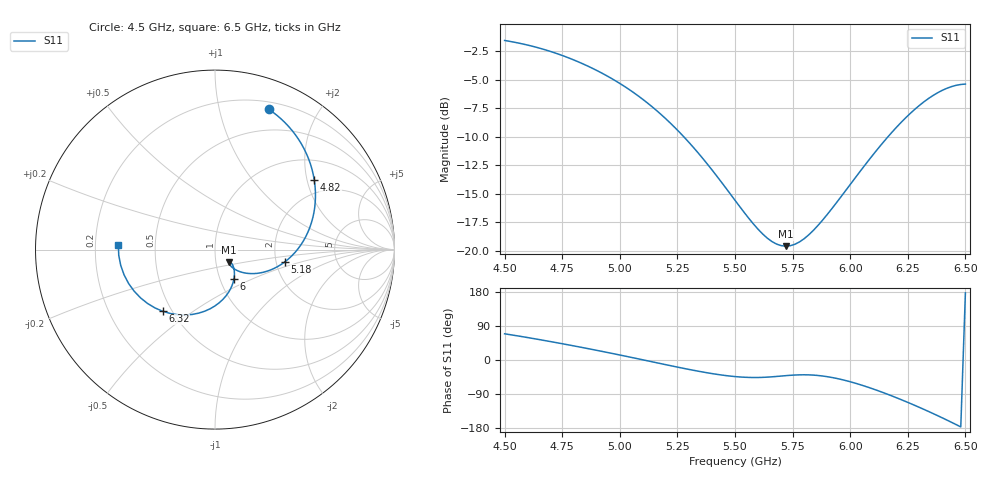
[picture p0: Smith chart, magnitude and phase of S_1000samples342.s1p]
! TOUCHSTONE file generated by CST MICROWAVE STUDIO
! Date and time: Thu Oct 27 20:23:28 2022
! Project name: L.cst
! Parameters = {Di=1.27; Epsilon_r=1.56; InnerDiameter=1.27; Length=2; Lf=10; Lg=60; OuterConductorThickness=0.2921; OuterDiameter=3.6; Wf=3; Wp=41.2; de=1.5; df=6.8; g=0.8; gx=0.755247; gy=1.97883; h=2.34; hf=1.524; px=9.91205; py=9.82056; w=9.7; wx=9.1568; wy=7.84174}
! Header version: 2018
! Port assignment regex: !\s*Touchstone port\s*([0-9]+)\s*=\s*(CST MWS port|CST DS port)\s*([0-9]+|Zmin|Zmax)\s*\(\"(.*)\"\)(\s*mode\s*([0-9]+))?.*
! Touchstone port assignment:
! Touchstone port 1 = CST MWS port 1 ("")
# GHz S DB R 50
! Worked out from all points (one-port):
!   101 points, 4.5 GHz to 6.5 GHz, reference 50 ohm
!   lowest |S11| = -19.6 dB at 5.72 GHz (marker M1), VSWR 1.23, Z = 57.9 - j8.11 ohm
!   |S11| at or under -10 dB: 5.278 GHz to 6.163 GHz (885.2 MHz wide, 15.5 % of centre)
!   S11 on the Smith chart (normalised r, x): 4.5 GHz: 0.27, +1.42; 4.82 GHz: 1.56, +2.22; 5.18 GHz: 2.24, -0.36; 6 GHz: 1.16, -0.40; 6.32 GHz: 0.45, -0.38; 6.5 GHz: 0.30, +0.02
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4.5  -1.54 69.1
4.64  -2.15 55.0
4.76  -2.93 41.8
4.82  -3.41 35.0
4.9  -4.17 25.5
5  -5.31 13.2
5.1  -6.71 0.5
5.18  -8.05 -9.8
5.26  -9.61 -20.0
5.36  -11.89 -31.7
5.5  -15.56 -43.7
5.62  -18.52 -45.8
5.68  -19.40 -43.4
5.72  -19.59 -41.3
5.76  -19.42 -39.7
5.8  -18.94 -39.0
5.86  -17.77 -40.8
5.92  -16.31 -46.1
6  -14.18 -57.4
6.08  -12.06 -72.4
6.14  -10.56 -85.3
6.2  -9.18 -99.4
6.26  -7.95 -114.4
6.32  -6.92 -130.3
6.36  -6.36 -141.4
6.4  -5.91 -152.8
6.46  -5.47 -170.5
6.5  -5.36 177.2
